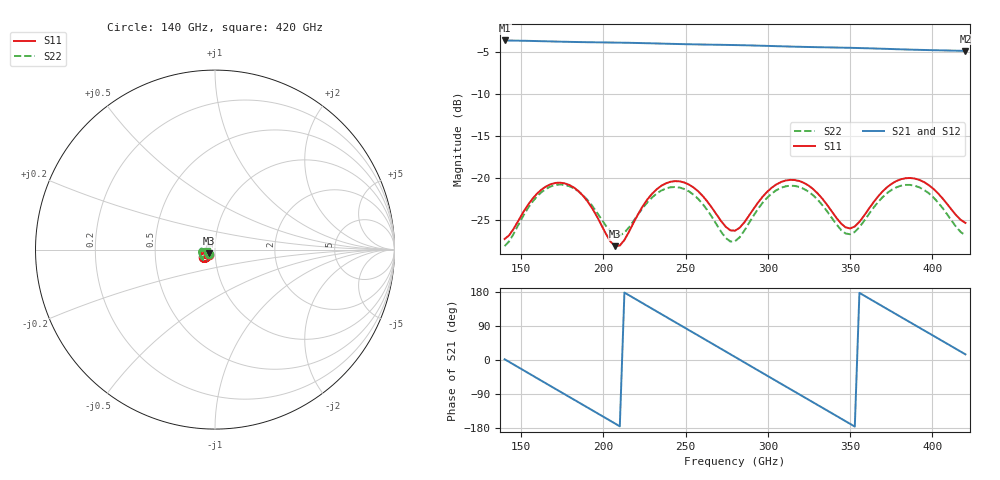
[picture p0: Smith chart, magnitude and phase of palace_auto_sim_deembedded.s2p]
! Created with skrf 1.11.0 (http://scikit-rf.org).
# GHz S DB R 50.0
!freq dBS11 angS11 dBS21 angS21 dBS12 angS12 dBS22 angS22
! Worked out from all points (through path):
!   101 points, 140 GHz to 420 GHz, reference 50 ohm
!   highest |S21| = -3.66 dB at 140 GHz (marker M1); lowest = -4.9 dB at 420 GHz (marker M2)
!   group delay of S21, straight-line fit = 7.02 ps
!   lowest |S11| = -28.1 dB at 207.2 GHz (marker M3), VSWR 1.08, Z = 46.7 - j1.95 ohm
!   |S11| at or under -10 dB: start of sweep to end of sweep
!   |S22| runs from -28.1 to -20.8 dB; largest |S21 - S12| = 1.3e-13
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140  -27.25 -138.5  -3.66 2.0  -3.66 2.0  -28.09 -141.6
151.2  -24.11 -121.0  -3.70 -26.4  -3.70 -26.4  -24.54 -124.5
165.2  -21.00 -133.0  -3.76 -61.9  -3.76 -61.9  -21.28 -137.8
176.4  -20.63 -149.3  -3.81 -90.1  -3.81 -90.1  -20.81 -154.5
187.6  -22.10 -164.0  -3.86 -118.4  -3.86 -118.4  -22.05 -169.2
207.2  -28.10 -148.0  -3.91 -167.9  -3.91 -167.9  -26.79 -160.6
221.2  -24.26 -119.3  -3.96 156.6  -3.96 156.6  -24.30 -139.0
235.2  -20.93 -130.9  -4.03 121.2  -4.03 121.2  -21.50 -149.2
254.8  -21.13 -156.6  -4.12 71.8  -4.12 71.8  -21.98 -174.7
268.8  -24.34 -162.4  -4.17 36.4  -4.17 36.4  -25.53 179.8
280  -26.26 -141.7  -4.21 8.1  -4.21 8.1  -27.52 -156.3
291.2  -23.69 -125.3  -4.26 -20.3  -4.26 -20.3  -24.50 -140.0
305.2  -20.76 -133.6  -4.34 -55.7  -4.34 -55.7  -21.44 -150.2
316.4  -20.24 -147.3  -4.40 -83.9  -4.40 -83.9  -20.95 -165.0
327.6  -21.34 -159.6  -4.45 -112.1  -4.45 -112.1  -22.08 -178.1
341.6  -24.73 -160.1  -4.50 -147.4  -4.50 -147.4  -25.50 -179.1
352.8  -25.76 -136.7  -4.55 -175.7  -4.55 -175.7  -26.41 -156.4
364  -22.93 -125.0  -4.61 155.9  -4.61 155.9  -23.58 -146.4
375.2  -20.68 -131.9  -4.68 127.7  -4.68 127.7  -21.41 -154.6
386.4  -20.00 -144.7  -4.75 99.5  -4.75 99.5  -20.82 -168.5
397.6  -20.82 -156.9  -4.80 71.4  -4.80 71.4  -21.79 178.2
420  -25.33 -148.6  -4.90 14.9  -4.90 14.9  -26.79 -172.4
